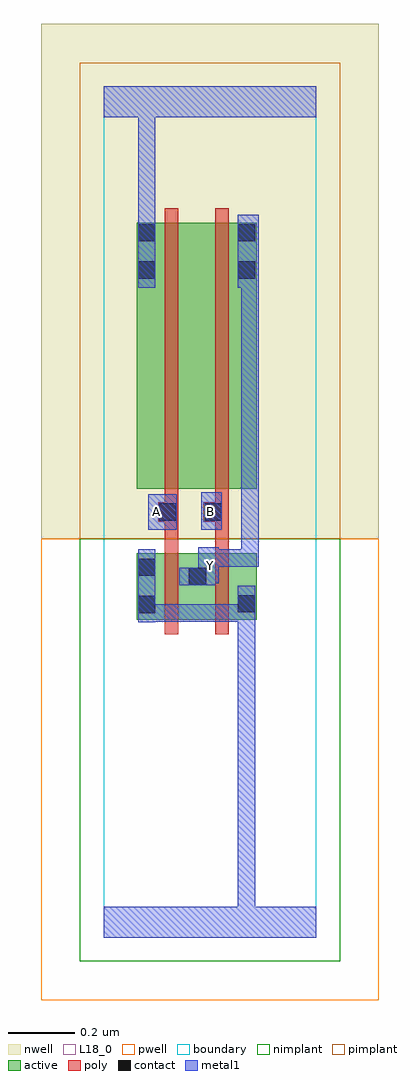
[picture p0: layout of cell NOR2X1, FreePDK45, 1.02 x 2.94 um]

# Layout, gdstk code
import gdstk
lib = gdstk.Library(unit=1e-6, precision=1e-09)
def R(c, l, rs):  # rectangles x0, y0, x1, y1
    for r in rs: c.add(gdstk.rectangle(r[:2], r[2:], *l))
active = (1, 0)
pwell = (2, 0)
nwell = (3, 0)
nimplant = (4, 0)
pimplant = (5, 0)
poly = (9, 0)
contact = (10, 0)
metal1 = (11, 0)
L18_0 = (18, 0)
boundary = (235, 0)

nor2x1 = lib.new_cell('NOR2X1')
R(nor2x1, active, [(0.1,0.956,0.16,1.156), (0.1,0.956,0.312,1.156), (0.252,0.956,0.312,1.156), (0.252,0.956,0.46,1.156), (0.4,0.956,0.46,1.156), (0.1,1.35,0.16,2.15), (0.1,1.35,0.28,2.15), (0.28,1.35,0.46,2.15), (0.4,1.35,0.46,2.15)])
R(nor2x1, pwell, [(-0.188,-0.188,0.828,1.2)])
R(nor2x1, nwell, [(-0.188,1.2,0.828,2.748)])
R(nor2x1, nimplant, [(-0.072,-0.072,0.712,1.2)])
R(nor2x1, pimplant, [(-0.072,1.2,0.712,2.632)])
R(nor2x1, poly, [(0.184,0.912,0.224,1.2), (0.336,0.912,0.376,1.2), (0.184,1.16,0.224,1.29), (0.336,1.16,0.376,1.29), (0.164,1.25,0.224,1.31), (0.3,1.25,0.376,1.31), (0.336,1.25,0.376,1.29), (0.336,1.25,0.376,1.29), (0.184,1.27,0.224,1.346), (0.184,1.27,0.224,1.31), (0.184,1.27,0.224,1.31), (0.336,1.27,0.376,1.346), (0.184,1.306,0.224,2.194), (0.336,1.306,0.376,2.194)])
R(nor2x1, contact, [(0.104,0.976,0.156,1.028), (0.404,0.978,0.456,1.03), (0.256,1.06,0.308,1.112), (0.104,1.088,0.156,1.14), (0.168,1.254,0.22,1.306), (0.304,1.254,0.356,1.306), (0.104,1.982,0.156,2.034), (0.404,1.982,0.456,2.034), (0.104,2.094,0.156,2.146), (0.404,2.094,0.456,2.146)])
R(nor2x1, metal1, [(0,0,0.64,0.092), (0.404,0.04,0.456,0.092), (0.404,0.04,0.456,0.092), (0.404,0.04,0.456,0.092), (0.404,0.04,0.456,0.092), (0.404,0.04,0.456,0.092), (0.404,0.04,0.456,0.092), (0.404,0.04,0.456,0.092), (0.404,0.04,0.456,0.092), (0.404,0.04,0.456,0.092), (0.404,0.04,0.456,0.092), (0.404,0.04,0.456,0.092), (0.404,0.04,0.456,0.092), (0.404,0.04,0.456,0.092), (0.404,0.04,0.456,0.092), (0.404,0.04,0.456,0.092), (0.404,0.04,0.456,0.092), (0.404,0.04,0.456,1.002), (0.104,0.948,0.156,1.168), (0.104,0.95,0.156,1.002), (0.104,0.95,0.156,1.002), (0.104,0.95,0.266,1.002), (0.214,0.95,0.266,1.002), (0.214,0.95,0.456,1.002), (0.404,0.95,0.456,1.002), (0.404,0.95,0.456,1.002), (0.404,0.95,0.456,1.058), (0.228,1.06,0.336,1.112), (0.284,1.06,0.336,1.118), (0.284,1.066,0.346,1.174), (0.294,1.116,0.346,1.168), (0.294,1.116,0.346,1.168), (0.294,1.116,0.466,1.168), (0.414,1.116,0.466,1.168), (0.414,1.116,0.466,2.006), (0.134,1.226,0.22,1.334), (0.294,1.226,0.356,1.34), (0.104,1.954,0.156,2.174), (0.404,1.954,0.466,2.174), (0.414,1.954,0.466,2.006), (0.414,1.954,0.466,2.006), (0.104,2.122,0.156,2.52), (0,2.468,0.64,2.56), (0.104,2.468,0.156,2.52), (0.104,2.468,0.156,2.52), (0.104,2.468,0.156,2.52), (0.104,2.468,0.156,2.52), (0.104,2.468,0.156,2.52), (0.104,2.468,0.156,2.52), (0.104,2.468,0.156,2.52), (0.104,2.468,0.156,2.52)])
R(nor2x1, L18_0, [(0,0,0.64,0.092), (0.404,0.04,0.456,0.092), (0.404,0.04,0.456,0.092), (0.404,0.04,0.456,0.092), (0.404,0.04,0.456,0.092), (0.404,0.04,0.456,0.092), (0.404,0.04,0.456,0.092), (0.404,0.04,0.456,0.092), (0.404,0.04,0.456,0.092), (0.404,0.04,0.456,0.092), (0.404,0.04,0.456,0.092), (0.404,0.04,0.456,0.092), (0.404,0.04,0.456,0.092), (0.404,0.04,0.456,0.092), (0.404,0.04,0.456,0.092), (0.404,0.04,0.456,0.092), (0.404,0.04,0.456,0.092), (0.404,0.04,0.456,1.002), (0.104,0.948,0.156,1.168), (0.104,0.95,0.156,1.002), (0.104,0.95,0.156,1.002), (0.104,0.95,0.266,1.002), (0.214,0.95,0.266,1.002), (0.214,0.95,0.456,1.002), (0.404,0.95,0.456,1.002), (0.404,0.95,0.456,1.002), (0.404,0.95,0.456,1.058), (0.228,1.06,0.336,1.112), (0.284,1.06,0.336,1.118), (0.284,1.066,0.346,1.174), (0.294,1.094,0.346,1.146), (0.294,1.116,0.346,1.168), (0.294,1.116,0.346,1.168), (0.294,1.116,0.466,1.168), (0.414,1.116,0.466,1.168), (0.414,1.116,0.466,2.006), (0.134,1.226,0.22,1.334), (0.294,1.226,0.356,1.34), (0.134,1.254,0.186,1.306), (0.294,1.254,0.346,1.306), (0.104,1.954,0.156,2.174), (0.404,1.954,0.466,2.174), (0.414,1.954,0.466,2.006), (0.414,1.954,0.466,2.006), (0.104,2.122,0.156,2.52), (0,2.468,0.64,2.56), (0.104,2.468,0.156,2.52), (0.104,2.468,0.156,2.52), (0.104,2.468,0.156,2.52), (0.104,2.468,0.156,2.52), (0.104,2.468,0.156,2.52), (0.104,2.468,0.156,2.52), (0.104,2.468,0.156,2.52), (0.104,2.468,0.156,2.52)])
R(nor2x1, boundary, [(0,0,0.64,2.56)])
nor2x1.add(gdstk.Label('A', (0.16,1.28), layer=11, texttype=0))
nor2x1.add(gdstk.Label('B', (0.32,1.28), layer=11, texttype=0))
nor2x1.add(gdstk.Label('Y', (0.32,1.12), layer=11, texttype=0))

lib.write_gds('NOR2X1.gds')
